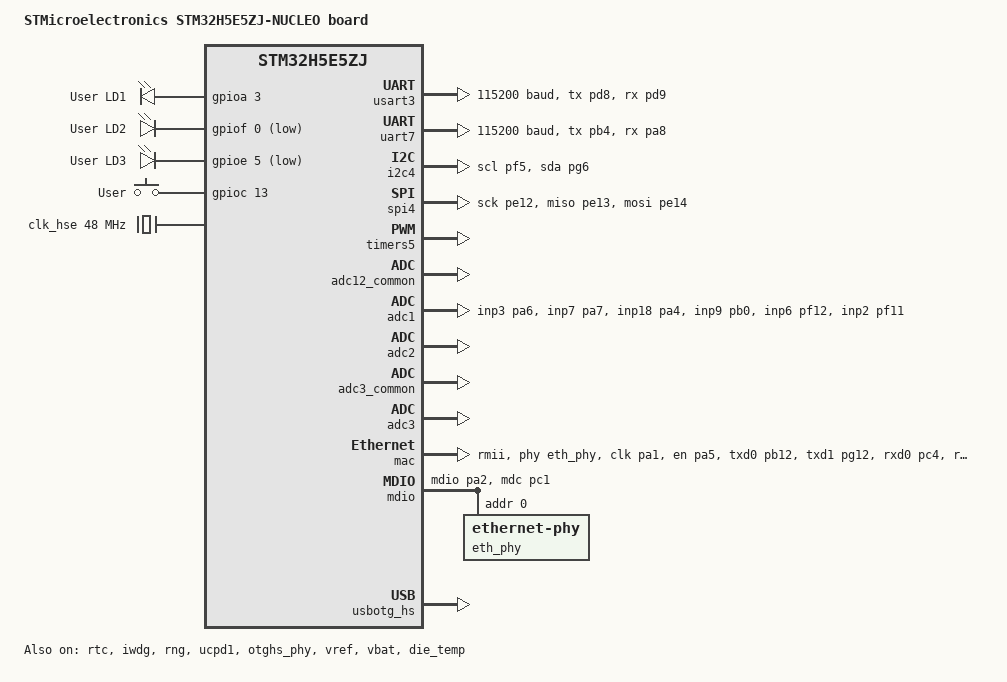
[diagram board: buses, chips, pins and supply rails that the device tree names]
/*
 * Copyright The Zephyr Project Contributors
 *
 * SPDX-License-Identifier: Apache-2.0
 */

/dts-v1/;
#include <st/h5/stm32h5e5Xj.dtsi>
#include <st/h5/stm32h5e5zjtx-pinctrl.dtsi>
#include "arduino_r3_connector.dtsi"
#include "st_morpho_connector.dtsi"
#include <zephyr/dt-bindings/input/input-event-codes.h>

/ {
	model = "STMicroelectronics STM32H5E5ZJ-NUCLEO board";
	compatible = "st,stm32h5e5zj-nucleo";

	chosen {
		zephyr,console = &usart3;
		zephyr,shell-uart = &usart3;
		zephyr,sram = &sram1;
		zephyr,flash = &flash0;
		zephyr,code-partition = &slot0_partition;
	};

	leds: leds {
		compatible = "gpio-leds";

		green_led_1: led_1 {
			gpios = <&gpioa 3 GPIO_ACTIVE_HIGH>;
			label = "User LD1";
		};

		red_led_2: led_2 {
			gpios = <&gpiof 0 GPIO_ACTIVE_LOW>;
			label = "User LD2";
		};

		blue_led_3: led_3 {
			gpios = <&gpioe 5 GPIO_ACTIVE_LOW>;
			label = "User LD3";
		};
	};

	pwmleds: pwmleds {
		compatible = "pwm-leds";
		/* NOTE: disabled by default, TIM5_CH4 reuses PA3 (green LED) */
		status = "disabled";

		pwm_led_1: green_pwm_led {
			pwms = <&pwm5 4 PWM_MSEC(20) PWM_POLARITY_NORMAL>;
			label = "green led";
		};
	};

	gpio_keys {
		compatible = "gpio-keys";

		user_button: button {
			label = "User";
			gpios = <&gpioc 13 GPIO_ACTIVE_HIGH>;
			zephyr,code = <INPUT_KEY_0>;
		};
	};

	aliases {
		led0 = &green_led_1;
		led1 = &red_led_2;
		led2 = &blue_led_3;
		pwm-led0 = &pwm_led_1;
		sw0 = &user_button;
		rtc = &rtc;
		watchdog0 = &iwdg;
		die-temp0 = &die_temp;
		volt-sensor0 = &vref;
		volt-sensor1 = &vbat;
	};
};

&clk_hse {
	clock-frequency = <DT_FREQ_M(48)>; /* X3 crystal */
	status = "okay";
};

&clk_hsi48 {
	status = "okay";
};

&clk_lse {
	status = "okay";
};

&clk_lsi {
	status = "okay";
};

&pll {
	div-m = <12>;
	mul-n = <125>;
	div-p = <2>;
	div-q = <5>;
	div-r = <2>;
	clocks = <&clk_hse>;
	status = "okay";
};

&rcc {
	clocks = <&pll>;
	clock-frequency = <DT_FREQ_M(250)>;
	ahb-prescaler = <1>;
	apb1-prescaler = <1>;
	apb2-prescaler = <1>;
	apb3-prescaler = <1>;
};

&usart3 {
	pinctrl-0 = <&usart3_tx_pd8 &usart3_rx_pd9>;
	pinctrl-names = "default";
	current-speed = <115200>;
	status = "okay";
};

&uart7 {
	pinctrl-0 = <&uart7_tx_pb4 &uart7_rx_pa8>;
	pinctrl-names = "default";
	current-speed = <115200>;
	status = "okay";
};

&i2c4 {
	pinctrl-0 = <&i2c4_scl_pf5 &i2c4_sda_pg6>;
	pinctrl-names = "default";
	scl-gpios = <&gpiof 5 GPIO_ACTIVE_HIGH>;
	sda-gpios = <&gpiog 6 GPIO_ACTIVE_HIGH>;
	status = "okay";
};

&i3c1 {
	/* NOTE: disabled by default, I3C1 reuses the Arduino I2C pins */
	pinctrl-0 = <&i3c1_scl_pf5 &i3c1_sda_pg6>;
	pinctrl-names = "default";
	i3c-scl-hz = <12500000>;
	status = "disabled";
};

&spi4 {
	pinctrl-0 = <&spi4_sck_pe12 &spi4_miso_pe13 &spi4_mosi_pe14>;
	pinctrl-names = "default";
	cs-gpios = <&gpioe 11 (GPIO_ACTIVE_LOW | GPIO_PULL_UP)>;
	status = "okay";
};

&timers5 {
	st,prescaler = <10000>;
	status = "okay";

	pwm5: pwm {
		status = "okay";
		pinctrl-0 = <&tim5_ch4_pa3>;
		pinctrl-names = "default";
	};
};

&adc12_common {
	st,adc-clock-source = "ASYNC";
	st,adc-prescaler = <6>;
	status = "okay";
};

&adc1 {
	/* Arduino A0, A1, A2, A3, A4, A5 */
	pinctrl-0 = <&adc1_inp3_pa6 &adc1_inp7_pa7 &adc1_inp18_pa4
		     &adc1_inp9_pb0 &adc1_inp6_pf12 &adc1_inp2_pf11>;
	pinctrl-names = "default";
	status = "okay";
};

&adc2 {
	status = "okay";
};

&adc3_common {
	st,adc-clock-source = "ASYNC";
	st,adc-prescaler = <6>;
	status = "okay";
};

&adc3 {
	/* Internal channels only: die temperature, VREFINT, VBAT and VDDCORE */
	status = "okay";
};

&dac1 {
	/* NOTE: disabled by default, DAC1_OUT1 reuses PA4 (Arduino A2) */
	pinctrl-0 = <&dac1_out1_pa4>;
	pinctrl-names = "default";
	status = "disabled";
};

&rtc {
	clocks = <&rcc STM32_CLOCK(APB3, 21)>,
		 <&rcc STM32_SRC_LSE RTC_SEL(1)>;
	status = "okay";
};

&iwdg {
	status = "okay";
};

&rng {
	status = "okay";
};

&gpdma1 {
	status = "okay";
};

&gpdma2 {
	status = "okay";
};

&mac {
	pinctrl-0 = <&eth_rmii_ref_clk_pa1
		     &eth_rmii_tx_en_pa5
		     &eth_rmii_txd0_pb12
		     &eth_rmii_txd1_pg12
		     &eth_rmii_rxd0_pc4
		     &eth_rmii_rxd1_pc5
		     &eth_rmii_crs_dv_pd1>;
	pinctrl-names = "default";
	phy-connection-type = "rmii";
	phy-handle = <&eth_phy>;
	status = "okay";
};

&mdio {
	pinctrl-0 = <&eth_mdio_pa2 &eth_mdc_pc1>;
	pinctrl-names = "default";
	status = "okay";

	eth_phy: ethernet-phy@0 {
		compatible = "ethernet-phy";
		reg = <0x00>;
	};
};

&ucpd1 {
	/*
	 * UCPD is fed ucpd_ker_ck (HSI / 4) which is @ 16MHz. The ucpd_ker_ck goes to
	 * a prescaler who's output feeds the 'half-bit' divider which is used
	 * to generate clock for delay counters and BMC Rx/Tx blocks. The rx is
	 * designed to work in freq ranges of 6 <--> 18 MHz, however recommended
	 * range is 6 <--> 12 MHz (STM's HAL sets prescaler to /2 by default and
	 * hbit to /14)
	 *
	 *          +-------+ @ 8 MHz  +-------+   @ ~600 kHz   +-----------+
	 * HSI ---->| /psc  |--------->| /hbit |--------------->| trans_cnt |
	 *          +-------+          +-------+   |            +-----------+
	 *                                         |            +-----------+
	 *                                         +----------->| ifrgap_cnt|
	 *                                                      +-----------+
	 * Requirements:
	 *   1. hbit_clk ~= 600 kHz: 8 MHz / 600 kHz = 13.33
	 *   2. tTransitionWindow - 12 to 20 uSec
	 *   3. tInterframGap - >= 25 uSec
	 *
	 * hbit_clk = HSI / 4 / psc / hbit = 571.4 kHz = 1.751 uSec period
	 * tTransitionWindow = 1.751uS * 8 = 14 uS
	 * tInterFrameGap = 1.751 uS * 17 = 29.76 uS
	 */
	psc-ucpdclk = <2>;
	hbitclkdiv = <14>;
	pinctrl-0 = <&ucpd1_cc1_pb13 &ucpd1_cc2_pb14>;
	pinctrl-names = "default";
	status = "okay";
};

zephyr_udc0: &usbotg_hs {
	status = "okay";
};

&otghs_phy {
	/* HSE is 48MHz on this board: feed the PHY with HSE / 2 = 24MHz */
	clocks = <&rcc STM32_CLOCK(AHB2, 13)>,
		 <&rcc STM32_SRC_HSE OTGHS_SEL(2)>,
		 <&rcc STM32_SRC_HSE OTGPHYREFCK_SEL(10)>;
	clock-names = "gate", "mux", "fsel";
	status = "okay";
};

&vref {
	status = "okay";
};

&vbat {
	status = "okay";
};

&vddcore {
	status = "okay";
};

&die_temp {
	status = "okay";
};

&flash0 {
	partitions {
		#address-cells = <1>;
		#size-cells = <1>;
		ranges;

		boot_partition: partition@0 {
			compatible = "zephyr,mapped-partition";
			label = "mcuboot";
			reg = <0x00000000 DT_SIZE_K(64)>;
		};

		slot0_partition: partition@10000 {
			compatible = "zephyr,mapped-partition";
			label = "image-0";
			reg = <0x00010000 DT_SIZE_K(1984)>;
		};

		slot1_partition: partition@200000 {
			compatible = "zephyr,mapped-partition";
			label = "image-1";
			reg = <0x00200000 DT_SIZE_K(1984)>;
		};

		storage_partition: partition@3f0000 {
			compatible = "zephyr,mapped-partition";
			label = "storage";
			reg = <0x003f0000 DT_SIZE_K(64)>;
		};
	};
};
